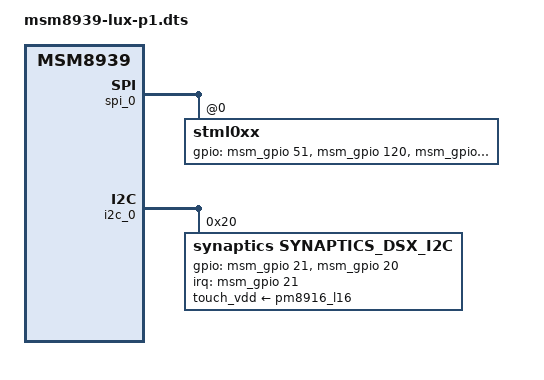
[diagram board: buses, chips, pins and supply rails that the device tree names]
/* Copyright (c) 2014, Motorola Mobility LLC. All rights reserved.
*
* This program is free software; you can redistribute it and/or modify
* it under the terms of the GNU General Public License version 2 and
* only version 2 as published by the Free Software Foundation.
*
* This program is distributed in the hope that it will be useful,
* but WITHOUT ANY WARRANTY; without even the implied warranty of
* MERCHANTABILITY or FITNESS FOR A PARTICULAR PURPOSE.  See the
* GNU General Public License for more details.
*/

/dts-v1/;

#include "msm8939-lux.dtsi"

/ {
	qcom,board-id = <0x47 0x8100>;
};

&tlmm_pinmux {
	stml0xx_inputs {
		qcom,pins = <&gp 51>, <&gp 52>, <&gp 38>, <&gp 5>;
	};
};

&spi_0 {
	stml0xx: stml0xx@0 {
		gpios = <&msm_gpio 51 0>,        /* IRQ */
			<&msm_gpio 120 0>,       /* RESET */
			<&msm_gpio 121 0>,       /* BSLEN */
			<&msm_gpio 52 0>,        /* WakeIRQ */
			<&msm_gpio 5 0>,         /* SPI Ready for Receive */
			<&msm_gpio 38 0>,        /* SPI Data Ack */
			<&msm_gpio 116 0>;       /* Wake Up Sensor Hub */
	};
};

&i2c_4 {
	/delete-node/ synaptics_dsx_i2c@20;
};

&i2c_0 {
	qcom,clk-freq-out = <400000>;

	synaptics_dsx_i2c@20 {
		compatible = "synaptics,synaptics_dsx_i2c";
		reg = <0x20>;
		interrupt-parent = <&msm_gpio>;
		interrupts = <21 0>;
		gpios = <&msm_gpio 21 0>, /* IRQ */
			<&msm_gpio 20 0>; /* RESET */
		touch_vdd-supply = <&pm8916_l16>;
		synaptics,normal-mode = <1>;
		synaptics,gpio-config;
		pinctrl-names = "default", "active";
		pinctrl-0 = <&touch_reset_default &touch_int_default>;
		pinctrl-1 = <&touch_reset_active &touch_int_active>;
	};
};
